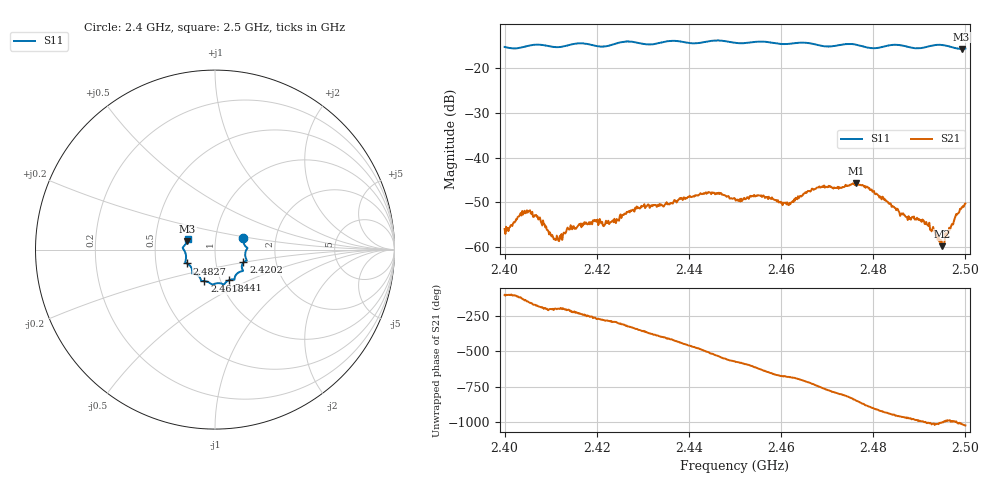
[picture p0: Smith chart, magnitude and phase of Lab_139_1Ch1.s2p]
# Hz S RI R 50
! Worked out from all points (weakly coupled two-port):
!   601 points, 2.4 GHz to 2.5 GHz, reference 50 ohm
!   highest |S21| = -45.64 dB at 2.4763 GHz (marker M1); lowest = -59.7 dB at 2.495 GHz (marker M2)
!   lowest |S11| = -15.8 dB at 2.4992 GHz (marker M3), VSWR 1.39, Z = 36.4 + j3.64 ohm
!   |S11| at or under -10 dB: start of sweep to end of sweep
!   S12 and S22 are empty: the file has one direction only
!   S11 on the Smith chart (normalised r, x): 2.4 GHz: 1.36, +0.18; 2.4202 GHz: 1.36, -0.20; 2.441 GHz: 1.10, -0.39; 2.4618 GHz: 0.84, -0.30; 2.4827 GHz: 0.72, -0.12; 2.5 GHz: 0.73, +0.09
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2.4e9  0.1584 0.0629  -0.000377 -0.00155  0 0  0 0
2.405e9  0.1744 0.0138  -0.00209 -0.00127  0 0  0 0
2.411333e9  0.1684 -0.0201  -0.00123 0.000552  0 0  0 0
2.416667e9  0.1772 -0.061  -0.000846 0.00145  0 0  0 0
2.420167e9  0.1585 -0.0713  9.45e-05 0.00204  0 0  0 0
2.421833e9  0.1506 -0.0855  0.00047 0.00175  0 0  0 0
2.428833e9  0.1469 -0.121  0.00263 0.000732  0 0  0 0
2.433333e9  0.1115 -0.1507  0.00255 -0.00157  0 0  0 0
2.441e9  0.0787 -0.1696  -0.00132 -0.00347  0 0  0 0
2.444833e9  0.0524 -0.1922  -0.00361 -0.00151  0 0  0 0
2.45e9  0.0284 -0.1876  -0.00292 0.00191  0 0  0 0
2.455167e9  -0.0131 -0.1951  -0.000394 0.00378  0 0  0 0
2.461833e9  -0.0591 -0.1756  0.00253 0.00185  0 0  0 0
2.466667e9  -0.0789 -0.1683  0.00443 -0.000759  0 0  0 0
2.476333e9  -0.1271 -0.1286  -0.00336 -0.004  0 0  0 0
2.482667e9  -0.1561 -0.0773  -0.00279 0.00178  0 0  0 0
2.483333e9  -0.1605 -0.0751  -0.00237 0.00198  0 0  0 0
2.487667e9  -0.1619 -0.0531  -0.000651 0.00213  0 0  0 0
2.491167e9  -0.1683 -0.01  0.000356 0.00179  0 0  0 0
2.495e9  -0.1789 0.0126  0.000193 0.00101  0 0  0 0
2.499167e9  -0.1548 0.0486  0.00115 0.00253  0 0  0 0
2.5e9  -0.1524 0.0606  0.00173 0.00255  0 0  0 0
